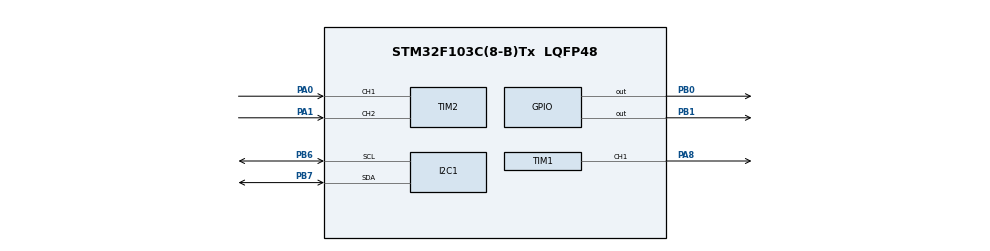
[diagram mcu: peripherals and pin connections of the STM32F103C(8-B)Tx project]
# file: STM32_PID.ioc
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Mcu.Family=STM32F1
Mcu.Name=STM32F103C(8-B)Tx
Mcu.Package=LQFP48
NVIC.PriorityGroup=NVIC_PRIORITYGROUP_4
NVIC.TIM3_IRQn=true\:0\:0\:false\:false\:true\:true\:true\:true
PA0-WKUP.GPIO_PuPd=GPIO_PULLUP
PA0-WKUP.Signal=S_TIM2_CH1_ETR
PA1.GPIO_PuPd=GPIO_PULLUP
PA1.Signal=S_TIM2_CH2
PA13.Mode=Serial_Wire
PA13.Signal=SYS_JTMS-SWDIO
PA14.Mode=Serial_Wire
PA14.Signal=SYS_JTCK-SWCLK
PA8.Signal=S_TIM1_CH1
PB0.Signal=GPIO_Output
PB1.Signal=GPIO_Output
PB6.Mode=I2C
PB6.Signal=I2C1_SCL
PB7.Mode=I2C
PB7.Signal=I2C1_SDA
PD0-OSC_IN.Mode=HSE-External-Oscillator
PD0-OSC_IN.Signal=RCC_OSC_IN
PD1-OSC_OUT.Mode=HSE-External-Oscillator
PD1-OSC_OUT.Signal=RCC_OSC_OUT
ProjectManager.HeapSize=0x200
ProjectManager.StackSize=0x400
ProjectManager.TargetToolchain=MDK-ARM V5.32
RCC.APB1Freq_Value=8000000
RCC.APB2Freq_Value=8000000
RCC.SYSCLKSource=RCC_SYSCLKSOURCE_HSE
SH.S_TIM1_CH1.0=TIM1_CH1,PWM Generation1 CH1
SH.S_TIM2_CH1_ETR.0=TIM2_CH1,Encoder_Interface
SH.S_TIM2_CH2.0=TIM2_CH2,Encoder_Interface
TIM1.Channel-PWM\ Generation1\ CH1=TIM_CHANNEL_1
TIM1.Period=799
TIM1.Prescaler=99
TIM1.Pulse-PWM\ Generation1\ CH1=199
TIM2.EncoderMode=TIM_ENCODERMODE_TI12
TIM3.Period=799
TIM3.Prescaler=99
VP_TIM3_VS_ClockSourceINT.Mode=Internal
board=custom

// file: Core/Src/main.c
/* USER CODE BEGIN Header */
/**
  ******************************************************************************
  * @file           : main.c
  * @brief          : Main program body
  ******************************************************************************
  * @attention
  *
  * Copyright (c) 2024 STMicroelectronics.
  * All rights reserved.
  *
  * This software is licensed under terms that can be found in the LICENSE file
  * in the root directory of this software component.
  * If no LICENSE file comes with this software, it is provided AS-IS.
  *
  ******************************************************************************
  */
/* USER CODE END Header */
#include "main.h"
#include <stdlib.h>
#include <CLCD_I2C.h>
#include <stdio.h>
#include <math.h>

/* USER CODE BEGIN PTD */
volatile short encoder_1 = 0;
int16_t encoder_0 = 0;
int16_t desire = 0;
int16_t error = 0;

float Kp = 4;
float Kw = 1;
float t =0;
float tf = 9;

int16_t set_pwm = 0;
int16_t W = 0;

char convert[5];

/* USER CODE END PTD */

I2C_HandleTypeDef hi2c1;

TIM_HandleTypeDef htim1;
TIM_HandleTypeDef htim2;
TIM_HandleTypeDef htim3;

/* USER CODE BEGIN PV */
CLCD_I2C_Name LCD1;
/* USER CODE END PV */

void SystemClock_Config(void);
static void MX_GPIO_Init(void);
static void MX_TIM1_Init(void);
static void MX_TIM2_Init(void);
static void MX_TIM3_Init(void);
static void MX_I2C1_Init(void);

int main(void)
{

  /* MCU Configuration--------------------------------------------------------*/

  /* Reset of all peripherals, Initializes the Flash interface and the Systick. */
  HAL_Init();

  /* Configure the system clock */
  SystemClock_Config();

  /* Initialize all configured peripherals */
  MX_GPIO_Init();
  MX_TIM1_Init();
  MX_TIM2_Init();
  MX_TIM3_Init();
  MX_I2C1_Init();
  /* USER CODE BEGIN 2 */
	HAL_TIM_Encoder_Start(&htim2, TIM_CHANNEL_1 | TIM_CHANNEL_2);
	HAL_TIM_PWM_Start(&htim1, TIM_CHANNEL_1);
	HAL_TIM_Base_Start_IT(&htim3);

	CLCD_I2C_Init(&LCD1,&hi2c1,0x4e,16,2);
	CLCD_I2C_SetCursor(&LCD1,0,0);
	CLCD_I2C_WriteString(&LCD1,"Desire: ");
	CLCD_I2C_SetCursor(&LCD1,0,1);
	CLCD_I2C_WriteString(&LCD1,"Result: ");

  /* USER CODE END 2 */

  /* Infinite loop */
  while (1)
  {

    /* USER CODE BEGIN 3 */

			HAL_Delay(1000);
			sprintf(convert, "%d", desire);
			CLCD_I2C_SetCursor(&LCD1,9,0);
			CLCD_I2C_WriteString(&LCD1, convert);

			sprintf(convert, "%d", encoder_0);
			CLCD_I2C_SetCursor(&LCD1,8,1);
			CLCD_I2C_WriteString(&LCD1, convert);

  }
  /* USER CODE END 3 */
}

void SystemClock_Config(void)
{
  RCC_OscInitTypeDef RCC_OscInitStruct = {0};
  RCC_ClkInitTypeDef RCC_ClkInitStruct = {0};

  /** Initializes the RCC Oscillators according to the specified parameters
  * in the RCC_OscInitTypeDef structure.
  */
  RCC_OscInitStruct.OscillatorType = RCC_OSCILLATORTYPE_HSE;
  RCC_OscInitStruct.HSEState = RCC_HSE_ON;
  RCC_OscInitStruct.PLL.PLLState = RCC_PLL_NONE;
  if (HAL_RCC_OscConfig(&RCC_OscInitStruct) != HAL_OK)
  {
    Error_Handler();
  }

  /** Initializes the CPU, AHB and APB buses clocks
  */
  RCC_ClkInitStruct.ClockType = RCC_CLOCKTYPE_HCLK|RCC_CLOCKTYPE_SYSCLK
                              |RCC_CLOCKTYPE_PCLK1|RCC_CLOCKTYPE_PCLK2;
  RCC_ClkInitStruct.SYSCLKSource = RCC_SYSCLKSOURCE_HSE;
  RCC_ClkInitStruct.AHBCLKDivider = RCC_SYSCLK_DIV1;
  RCC_ClkInitStruct.APB1CLKDivider = RCC_HCLK_DIV1;
  RCC_ClkInitStruct.APB2CLKDivider = RCC_HCLK_DIV1;

  if (HAL_RCC_ClockConfig(&RCC_ClkInitStruct, FLASH_LATENCY_0) != HAL_OK)
  {
    Error_Handler();
  }
}

static void MX_I2C1_Init(void)
{

  hi2c1.Instance = I2C1;
  hi2c1.Init.ClockSpeed = 100000;
  hi2c1.Init.DutyCycle = I2C_DUTYCYCLE_2;
  hi2c1.Init.OwnAddress1 = 0;
  hi2c1.Init.AddressingMode = I2C_ADDRESSINGMODE_7BIT;
  hi2c1.Init.DualAddressMode = I2C_DUALADDRESS_DISABLE;
  hi2c1.Init.OwnAddress2 = 0;
  hi2c1.Init.GeneralCallMode = I2C_GENERALCALL_DISABLE;
  hi2c1.Init.NoStretchMode = I2C_NOSTRETCH_DISABLE;
  if (HAL_I2C_Init(&hi2c1) != HAL_OK)
  {
    Error_Handler();
  }

}

static void MX_TIM1_Init(void)
{

  TIM_MasterConfigTypeDef sMasterConfig = {0};
  TIM_OC_InitTypeDef sConfigOC = {0};
  TIM_BreakDeadTimeConfigTypeDef sBreakDeadTimeConfig = {0};

  htim1.Instance = TIM1;
  htim1.Init.Prescaler = 24;
  htim1.Init.CounterMode = TIM_COUNTERMODE_UP;
  htim1.Init.Period = 99;
  htim1.Init.ClockDivision = TIM_CLOCKDIVISION_DIV1;
  htim1.Init.RepetitionCounter = 0;
  htim1.Init.AutoReloadPreload = TIM_AUTORELOAD_PRELOAD_DISABLE;
  if (HAL_TIM_PWM_Init(&htim1) != HAL_OK)
  {
    Error_Handler();
  }
  sMasterConfig.MasterOutputTrigger = TIM_TRGO_RESET;
  sMasterConfig.MasterSlaveMode = TIM_MASTERSLAVEMODE_DISABLE;
  if (HAL_TIMEx_MasterConfigSynchronization(&htim1, &sMasterConfig) != HAL_OK)
  {
    Error_Handler();
  }
  sConfigOC.OCMode = TIM_OCMODE_PWM1;
  sConfigOC.Pulse = 199;
  sConfigOC.OCPolarity = TIM_OCPOLARITY_HIGH;
  sConfigOC.OCNPolarity = TIM_OCNPOLARITY_HIGH;
  sConfigOC.OCFastMode = TIM_OCFAST_DISABLE;
  sConfigOC.OCIdleState = TIM_OCIDLESTATE_RESET;
  sConfigOC.OCNIdleState = TIM_OCNIDLESTATE_RESET;
  if (HAL_TIM_PWM_ConfigChannel(&htim1, &sConfigOC, TIM_CHANNEL_1) != HAL_OK)
  {
    Error_Handler();
  }
  sBreakDeadTimeConfig.OffStateRunMode = TIM_OSSR_DISABLE;
  sBreakDeadTimeConfig.OffStateIDLEMode = TIM_OSSI_DISABLE;
  sBreakDeadTimeConfig.LockLevel = TIM_LOCKLEVEL_OFF;
  sBreakDeadTimeConfig.DeadTime = 0;
  sBreakDeadTimeConfig.BreakState = TIM_BREAK_DISABLE;
  sBreakDeadTimeConfig.BreakPolarity = TIM_BREAKPOLARITY_HIGH;
  sBreakDeadTimeConfig.AutomaticOutput = TIM_AUTOMATICOUTPUT_DISABLE;
  if (HAL_TIMEx_ConfigBreakDeadTime(&htim1, &sBreakDeadTimeConfig) != HAL_OK)
  {
    Error_Handler();
  }
  HAL_TIM_MspPostInit(&htim1);

}

static void MX_TIM2_Init(void)
{

  TIM_Encoder_InitTypeDef sConfig = {0};
  TIM_MasterConfigTypeDef sMasterConfig = {0};

  htim2.Instance = TIM2;
  htim2.Init.Prescaler = 0;
  htim2.Init.CounterMode = TIM_COUNTERMODE_UP;
  htim2.Init.Period = 65535;
  htim2.Init.ClockDivision = TIM_CLOCKDIVISION_DIV1;
  htim2.Init.AutoReloadPreload = TIM_AUTORELOAD_PRELOAD_DISABLE;
  sConfig.EncoderMode = TIM_ENCODERMODE_TI12;
  sConfig.IC1Polarity = TIM_ICPOLARITY_RISING;
  sConfig.IC1Selection = TIM_ICSELECTION_DIRECTTI;
  sConfig.IC1Prescaler = TIM_ICPSC_DIV1;
  sConfig.IC1Filter = 0;
  sConfig.IC2Polarity = TIM_ICPOLARITY_RISING;
  sConfig.IC2Selection = TIM_ICSELECTION_DIRECTTI;
  sConfig.IC2Prescaler = TIM_ICPSC_DIV1;
  sConfig.IC2Filter = 0;
  if (HAL_TIM_Encoder_Init(&htim2, &sConfig) != HAL_OK)
  {
    Error_Handler();
  }
  sMasterConfig.MasterOutputTrigger = TIM_TRGO_RESET;
  sMasterConfig.MasterSlaveMode = TIM_MASTERSLAVEMODE_DISABLE;
  if (HAL_TIMEx_MasterConfigSynchronization(&htim2, &sMasterConfig) != HAL_OK)
  {
    Error_Handler();
  }

}

static void MX_TIM3_Init(void)
{

  TIM_ClockConfigTypeDef sClockSourceConfig = {0};
  TIM_MasterConfigTypeDef sMasterConfig = {0};

  htim3.Instance = TIM3;
  htim3.Init.Prescaler = 99;
  htim3.Init.CounterMode = TIM_COUNTERMODE_UP;
  htim3.Init.Period = 799;
  htim3.Init.ClockDivision = TIM_CLOCKDIVISION_DIV1;
  htim3.Init.AutoReloadPreload = TIM_AUTORELOAD_PRELOAD_DISABLE;
  if (HAL_TIM_Base_Init(&htim3) != HAL_OK)
  {
    Error_Handler();
  }
  sClockSourceConfig.ClockSource = TIM_CLOCKSOURCE_INTERNAL;
  if (HAL_TIM_ConfigClockSource(&htim3, &sClockSourceConfig) != HAL_OK)
  {
    Error_Handler();
  }
  sMasterConfig.MasterOutputTrigger = TIM_TRGO_RESET;
  sMasterConfig.MasterSlaveMode = TIM_MASTERSLAVEMODE_DISABLE;
  if (HAL_TIMEx_MasterConfigSynchronization(&htim3, &sMasterConfig) != HAL_OK)
  {
    Error_Handler();
  }

}

static void MX_GPIO_Init(void)
{
  GPIO_InitTypeDef GPIO_InitStruct = {0};

  /* GPIO Ports Clock Enable */
  __HAL_RCC_GPIOD_CLK_ENABLE();
  __HAL_RCC_GPIOA_CLK_ENABLE();
  __HAL_RCC_GPIOB_CLK_ENABLE();

  /*Configure GPIO pin Output Level */
  HAL_GPIO_WritePin(GPIOB, GPIO_PIN_0|GPIO_PIN_1, GPIO_PIN_RESET);

  /*Configure GPIO pins : PB0 PB1 */
  GPIO_InitStruct.Pin = GPIO_PIN_0|GPIO_PIN_1;
  GPIO_InitStruct.Mode = GPIO_MODE_OUTPUT_PP;
  GPIO_InitStruct.Pull = GPIO_NOPULL;
  GPIO_InitStruct.Speed = GPIO_SPEED_FREQ_LOW;
  HAL_GPIO_Init(GPIOB, &GPIO_InitStruct);

}

/* USER CODE BEGIN 4 */
void HAL_TIM_PeriodElapsedCallback(TIM_HandleTypeDef *htim){
		t += 0.01;
		if(t < 0.3*tf){
			desire = round(3300*2/(0.42*tf*tf)*t*t);
		}else{
			if(t < 0.7*tf){
				desire = round(3300*(2*t/(0.7*tf)-3/7));
			}else{
				if(t <= tf){
					desire = round(3300*(-2*t*t/(0.42*tf*tf)+200*t/(21*tf)-58/21));
				}
			}
		}
		encoder_0 = __HAL_TIM_GetCounter(&htim2);

		W = (encoder_0 - encoder_1)*100;
		error = desire - encoder_0;

		set_pwm = error*Kp - Kw*W;
		encoder_1 = encoder_0;

		if (set_pwm > 99) set_pwm = 99;
    if (set_pwm < -99) set_pwm = -99;

		if (set_pwm >= 0){
        HAL_GPIO_WritePin(GPIOB, GPIO_PIN_0,1);
				HAL_GPIO_WritePin(GPIOB, GPIO_PIN_1,0);
    }
    else
    {
        HAL_GPIO_WritePin(GPIOB, GPIO_PIN_0,0);
				HAL_GPIO_WritePin(GPIOB, GPIO_PIN_1,1);
    }

		__HAL_TIM_SET_COMPARE(&htim1, TIM_CHANNEL_1, abs(set_pwm));
}
/* USER CODE END 4 */

void Error_Handler(void)
{
  __disable_irq();
  while (1)
  {
  }
}
